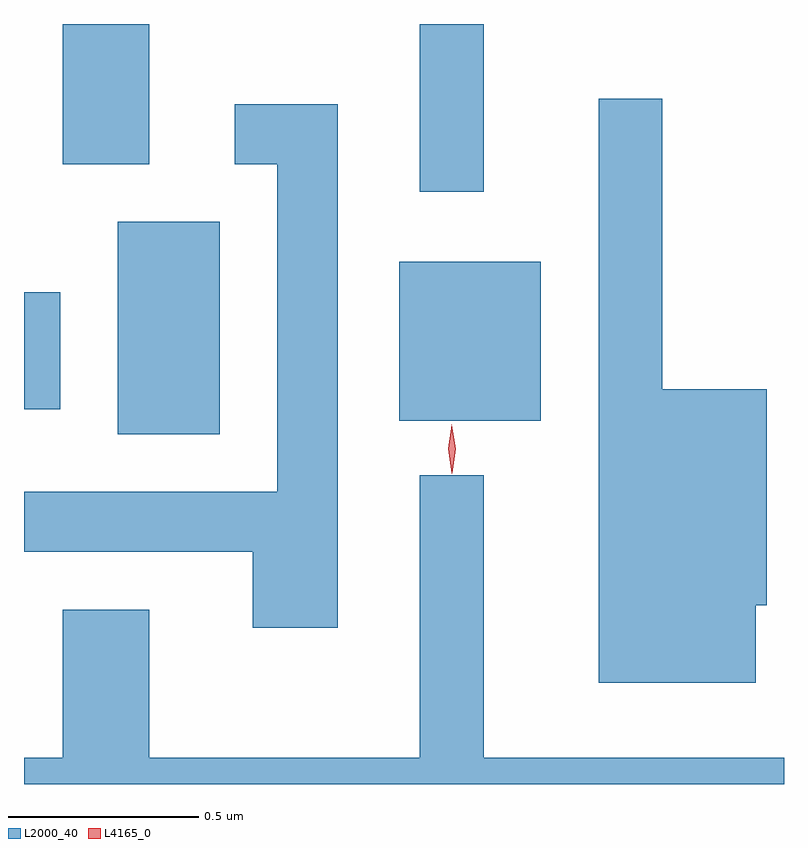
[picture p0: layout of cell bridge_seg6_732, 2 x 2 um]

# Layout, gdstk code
import gdstk
lib = gdstk.Library(unit=1e-6, precision=1e-09)
def R(c, l, rs):  # rectangles x0, y0, x1, y1
    for r in rs: c.add(gdstk.rectangle(r[:2], r[2:], *l))
def P(c, l, *ps):  # polygons
    for p in ps: c.add(gdstk.Polygon(p, *l))
L2000_40 = (2000, 40)
L4165_0 = (4165, 0)

bridge_seg6_732 = lib.new_cell('bridge_seg6_732')
R(bridge_seg6_732, L2000_40, [(233.056,1533.396,233.324,1533.954), (233.796,1533.431,234.169,1533.849), (232.809,1533.461,232.904,1533.769), (233.851,1534.033,234.019,1534.475), (232.911,1534.106,233.139,1534.475)])
P(bridge_seg6_732, L2000_40, [(234.734,1532.946),(234.764,1532.946),(234.764,1533.514),(234.489,1533.514),(234.489,1534.278),(234.321,1534.278),(234.321,1532.741),(234.734,1532.741)],
  [(233.634,1534.264),(233.363,1534.264),(233.363,1534.106),(233.476,1534.106),(233.476,1533.244),(232.809,1533.244),(232.809,1533.086),(233.411,1533.086),(233.411,1532.886),(233.634,1532.886)],
  [(234.809,1532.544),(234.019,1532.544),(234.019,1533.288),(233.851,1533.288),(233.851,1532.544),(233.139,1532.544),(233.139,1532.934),(232.911,1532.934),(232.911,1532.544),(232.809,1532.544),(232.809,1532.475),(234.809,1532.475)])
P(bridge_seg6_732, L4165_0, [(233.935,1533.292),(233.934,1533.293),(233.925,1533.357),(233.934,1533.421),(233.934,1533.422),(233.935,1533.421),(233.945,1533.357),(233.936,1533.293)])

lib.write_gds('bridge_seg6_732.gds')
